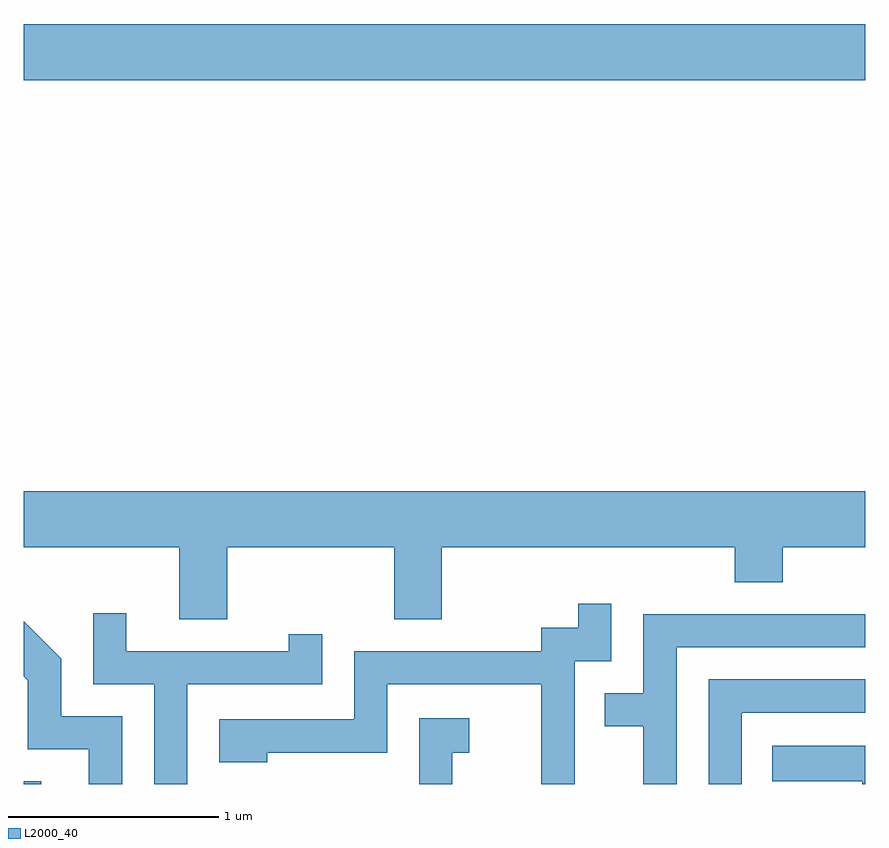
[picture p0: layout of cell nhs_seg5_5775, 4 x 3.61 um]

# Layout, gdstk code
import gdstk
lib = gdstk.Library(unit=1e-6, precision=1e-09)
def R(c, l, rs):  # rectangles x0, y0, x1, y1
    for r in rs: c.add(gdstk.rectangle(r[:2], r[2:], *l))
def P(c, l, *ps):  # polygons
    for p in ps: c.add(gdstk.Polygon(p, *l))
L2000_40 = (2000, 40)

nhs_seg5_5775 = lib.new_cell('nhs_seg5_5775')
R(nhs_seg5_5775, L2000_40, [(355.611,1500.072,355.694,1500.084), (355.611,1503.416,359.611,1503.684)])
P(nhs_seg5_5775, L2000_40, [(356.579,1501.196),(357.371,1501.196),(357.371,1500.856),(357.599,1500.856),(357.599,1501.196),(358.991,1501.196),(358.991,1501.031),(359.219,1501.031),(359.219,1501.196),(359.611,1501.196),(359.611,1501.464),(355.611,1501.464),(355.611,1501.196),(356.351,1501.196),(356.351,1500.856),(356.579,1500.856)],
  [(358.229,1500.656),(358.404,1500.656),(358.404,1500.928),(358.246,1500.928),(358.246,1500.814),(358.071,1500.814),(358.071,1500.704),(357.181,1500.704),(357.181,1500.379),(356.541,1500.379),(356.541,1500.176),(356.769,1500.176),(356.769,1500.221),(357.339,1500.221),(357.339,1500.546),(358.071,1500.546),(358.071,1500.072),(358.229,1500.072)],
  [(356.389,1500.546),(357.029,1500.546),(357.029,1500.783),(356.871,1500.783),(356.871,1500.704),(356.099,1500.704),(356.099,1500.883),(355.941,1500.883),(355.941,1500.546),(356.231,1500.546),(356.231,1500.072),(356.389,1500.072)],
  [(358.714,1500.721),(359.611,1500.721),(359.611,1500.879),(358.556,1500.879),(358.556,1500.504),(358.373,1500.504),(358.373,1500.346),(358.556,1500.346),(358.556,1500.072),(358.714,1500.072)],
  [(356.079,1500.394),(355.789,1500.394),(355.789,1500.667),(355.611,1500.845),(355.611,1500.584),(355.631,1500.564),(355.631,1500.236),(355.921,1500.236),(355.921,1500.072),(356.079,1500.072)],
  [(359.024,1500.411),(359.611,1500.411),(359.611,1500.569),(358.866,1500.569),(358.866,1500.072),(359.024,1500.072)],
  [(357.649,1500.221),(357.728,1500.221),(357.728,1500.384),(357.491,1500.384),(357.491,1500.072),(357.649,1500.072)],
  [(359.611,1500.254),(359.168,1500.254),(359.168,1500.086),(359.596,1500.086),(359.596,1500.072),(359.611,1500.072)])

lib.write_gds('nhs_seg5_5775.gds')
